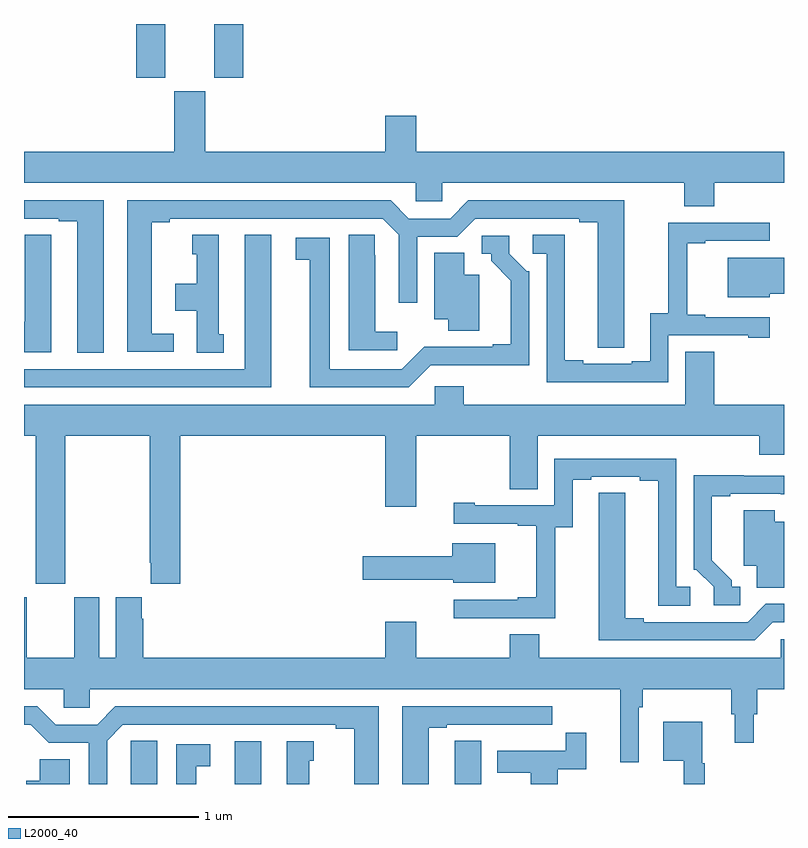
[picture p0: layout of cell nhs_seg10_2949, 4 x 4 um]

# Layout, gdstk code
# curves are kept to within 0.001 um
import gdstk
lib = gdstk.Library(unit=1e-6, precision=1e-09)
def R(c, l, rs):  # rectangles x0, y0, x1, y1
    for r in rs: c.add(gdstk.rectangle(r[:2], r[2:], *l))
def P(c, l, *ps):  # polygons
    for p in ps: c.add(gdstk.Polygon(p, *l))
L2000_40 = (2000, 40)

nhs_seg10_2949 = lib.new_cell('nhs_seg10_2949')
R(nhs_seg10_2949, L2000_40, [(272.108,1282.5,272.248,1282.726), (271.592,1286.217,271.744,1286.5), (272,1286.217,272.153,1286.5)])
P(nhs_seg10_2949, L2000_40, [(274.634,1285.664),(275,1285.664),(275,1285.828),(273.064,1285.828),(273.064,1286.017),(272.9,1286.017),(272.9,1285.828),(271.954,1285.828),(271.954,1286.145),(271.79,1286.145),(271.79,1285.828),(271,1285.828),(271,1285.664),(273.063,1285.664),(273.063,1285.566),(273.201,1285.566),(273.201,1285.664),(274.474,1285.664),(274.474,1285.54),(274.634,1285.54)],
  [(271.42,1285.572),(271,1285.572),(271,1285.476),(271.184,1285.476),(271.184,1285.461),(271.28,1285.461),(271.28,1284.769),(271.42,1284.769)],
  [(271.789,1284.87),(271.672,1284.87),(271.672,1285.456),(271.768,1285.456),(271.768,1285.476),(272.889,1285.476),(272.973,1285.392),(272.973,1285.032),(273.069,1285.032),(273.069,1285.38),(273.279,1285.38),(273.375,1285.476),(273.923,1285.476),(273.923,1285.456),(274.019,1285.456),(274.019,1284.796),(274.158,1284.796),(274.159,1285.572),(273.339,1285.572),(273.243,1285.476),(273.025,1285.476),(272.929,1285.572),(271.544,1285.572),(271.544,1284.774),(271.789,1284.774)],
  [(274.392,1284.861),(274.811,1284.861),(274.811,1284.849),(274.924,1284.849),(274.924,1284.957),(274.585,1284.957),(274.585,1284.97),(274.49,1284.97),(274.49,1285.347),(274.585,1285.347),(274.585,1285.359),(274.924,1285.359),(274.924,1285.455),(274.39,1285.455),(274.39,1284.977),(274.295,1284.977),(274.295,1284.726),(274.199,1284.726),(274.199,1284.711),(273.943,1284.711),(273.943,1284.731),(273.847,1284.731),(273.847,1285.391),(273.678,1285.391),(273.678,1285.29),(273.75,1285.29),(273.75,1284.615),(274.392,1284.615)],
  [(272.965,1284.88),(272.848,1284.88),(272.848,1285.283),(272.847,1285.283),(272.847,1285.391),(272.708,1285.391),(272.708,1284.783),(272.965,1284.783)],
  [(271.144,1285.283),(271.143,1285.283),(271.143,1285.391),(271.004,1285.391),(271.004,1284.933),(271,1284.933),(271,1284.773),(271.144,1284.773)],
  [(272.302,1285.39),(272.162,1285.39),(272.162,1284.684),(271,1284.684),(271,1284.588),(272.302,1284.588)],
  [(272.05,1284.867),(272.026,1284.867),(272.026,1285.39),(271.886,1285.39),(271.886,1285.287),(271.91,1285.287),(271.91,1285.132),(271.796,1285.132),(271.796,1284.992),(271.91,1284.992),(271.91,1284.769),(272.05,1284.769)],
  [(273.141,1284.705),(273.66,1284.704),(273.66,1285.2),(273.645,1285.2),(273.555,1285.29),(273.555,1285.386),(273.408,1285.386),(273.408,1285.29),(273.458,1285.29),(273.458,1285.255),(273.563,1285.15),(273.563,1284.814),(273.467,1284.814),(273.467,1284.801),(273.106,1284.802),(272.988,1284.684),(272.608,1284.684),(272.608,1285.374),(272.43,1285.374),(272.43,1285.258),(272.504,1285.258),(272.504,1284.588),(273.024,1284.588)],
  [(273.397,1285.18),(273.316,1285.18),(273.316,1285.295),(273.158,1285.295),(273.158,1284.947),(273.233,1284.947),(273.233,1284.886),(273.397,1284.886)],
  [(274.926,1285.079),(275,1285.079),(275,1285.27),(274.703,1285.27),(274.703,1285.061),(274.926,1285.061)],
  [(271,1284.332),(271.063,1284.332),(271.063,1283.553),(271.218,1283.553),(271.218,1284.332),(271.663,1284.332),(271.663,1283.665),(271.667,1283.665),(271.667,1283.553),(271.823,1283.553),(271.823,1284.332),(272.9,1284.332),(272.9,1283.958),(273.064,1283.958),(273.064,1284.332),(273.556,1284.332),(273.556,1284.052),(273.703,1284.052),(273.703,1284.332),(274.871,1284.332),(274.871,1284.234),(275,1284.234),(275,1284.496),(274.634,1284.496),(274.634,1284.776),(274.481,1284.776),(274.481,1284.496),(273.314,1284.496),(273.314,1284.594),(273.162,1284.594),(273.162,1284.496),(271,1284.496)],
  [(273.795,1283.851),(273.889,1283.851),(273.889,1284.102),(273.985,1284.102),(273.985,1284.117),(274.241,1284.117),(274.241,1284.097),(274.337,1284.097),(274.337,1283.437),(274.507,1283.437),(274.507,1283.538),(274.434,1283.538),(274.434,1284.213),(273.792,1284.213),(273.792,1283.967),(273.373,1283.967),(273.373,1283.98),(273.261,1283.98),(273.261,1283.871),(273.599,1283.871),(273.599,1283.859),(273.695,1283.859),(273.695,1283.482),(273.599,1283.482),(273.599,1283.469),(273.261,1283.469),(273.261,1283.373),(273.795,1283.373)],
  [(274.771,1283.538),(274.726,1283.538),(274.726,1283.573),(274.621,1283.678),(274.621,1284.015),(274.717,1284.015),(274.717,1284.027),(275,1284.026),(275,1284.123),(274.787,1284.123),(274.787,1284.125),(274.524,1284.125),(274.524,1283.628),(274.539,1283.628),(274.629,1283.538),(274.629,1283.442),(274.771,1283.442)],
  [(274.941,1283.352),(275,1283.352),(275,1283.448),(274.905,1283.448),(274.809,1283.352),(274.261,1283.352),(274.261,1283.372),(274.165,1283.372),(274.165,1284.032),(274.026,1284.032),(274.025,1283.256),(274.845,1283.256)],
  [(275,1283.881),(274.951,1283.881),(274.951,1283.942),(274.787,1283.942),(274.787,1283.648),(274.856,1283.648),(274.856,1283.533),(275,1283.533)],
  [(273.481,1283.767),(273.254,1283.767),(273.254,1283.698),(272.784,1283.698),(272.784,1283.576),(273.258,1283.576),(273.258,1283.558),(273.481,1283.558)],
  [(274.236,1282.904),(274.256,1282.904),(274.256,1283),(274.723,1283),(274.723,1282.866),(274.742,1282.866),(274.742,1282.716),(274.84,1282.716),(274.84,1282.866),(274.859,1282.866),(274.859,1283),(275,1283),(275,1283.262),(274.983,1283.262),(274.983,1283.164),(273.711,1283.164),(273.711,1283.288),(273.556,1283.288),(273.556,1283.164),(273.064,1283.164),(273.064,1283.353),(272.9,1283.353),(272.9,1283.164),(271.628,1283.164),(271.628,1283.369),(271.621,1283.369),(271.621,1283.482),(271.484,1283.482),(271.484,1283.164),(271.396,1283.164),(271.396,1283.482),(271.265,1283.482),(271.265,1283.164),(271.015,1283.164),(271.015,1283.482),(271,1283.482),(271,1283),(271.209,1283),(271.209,1282.902),(271.347,1282.902),(271.347,1283),(274.139,1283),(274.139,1282.614),(274.236,1282.614)],
  [(271.437,1282.728),(271.521,1282.812),(272.642,1282.812),(272.642,1282.792),(272.738,1282.792),(272.738,1282.5),(272.866,1282.5),(272.866,1282.908),(271.481,1282.908),(271.385,1282.812),(271.167,1282.812),(271.071,1282.908),(271,1282.908),(271,1282.812),(271.035,1282.812),(271.131,1282.716),(271.341,1282.716),(271.341,1282.5),(271.437,1282.5)],
  [(273.13,1282.797),(273.226,1282.797),(273.226,1282.812),(273.502,1282.812),(273.502,1282.811),(273.668,1282.811),(273.668,1282.812),(273.781,1282.812),(273.781,1282.908),(272.99,1282.908),(272.99,1282.5),(273.13,1282.5)],
  [(274.582,1282.608),(274.57,1282.608),(274.57,1282.828),(274.364,1282.828),(274.364,1282.622),(274.473,1282.622),(274.473,1282.5),(274.582,1282.5)],
  [(273.808,1282.578),(273.959,1282.578),(273.959,1282.771),(273.85,1282.771),(273.85,1282.674),(273.491,1282.674),(273.491,1282.558),(273.668,1282.558),(273.668,1282.5),(273.808,1282.5)],
  [(271.702,1282.727),(271.563,1282.727),(271.563,1282.619),(271.562,1282.619),(271.562,1282.5),(271.702,1282.5)],
  [(273.406,1282.727),(273.267,1282.727),(273.267,1282.619),(273.266,1282.619),(273.266,1282.5),(273.406,1282.5)],
  [(272.5,1282.623),(272.524,1282.623),(272.524,1282.726),(272.384,1282.726),(272.384,1282.5),(272.5,1282.5)],
  [(271.906,1282.594),(271.981,1282.594),(271.981,1282.71),(271.802,1282.71),(271.802,1282.5),(271.906,1282.5)],
  [(271.24,1282.631),(271.082,1282.631),(271.082,1282.516),(271.013,1282.516),(271.013,1282.5),(271.24,1282.5)])

lib.write_gds('nhs_seg10_2949.gds')
